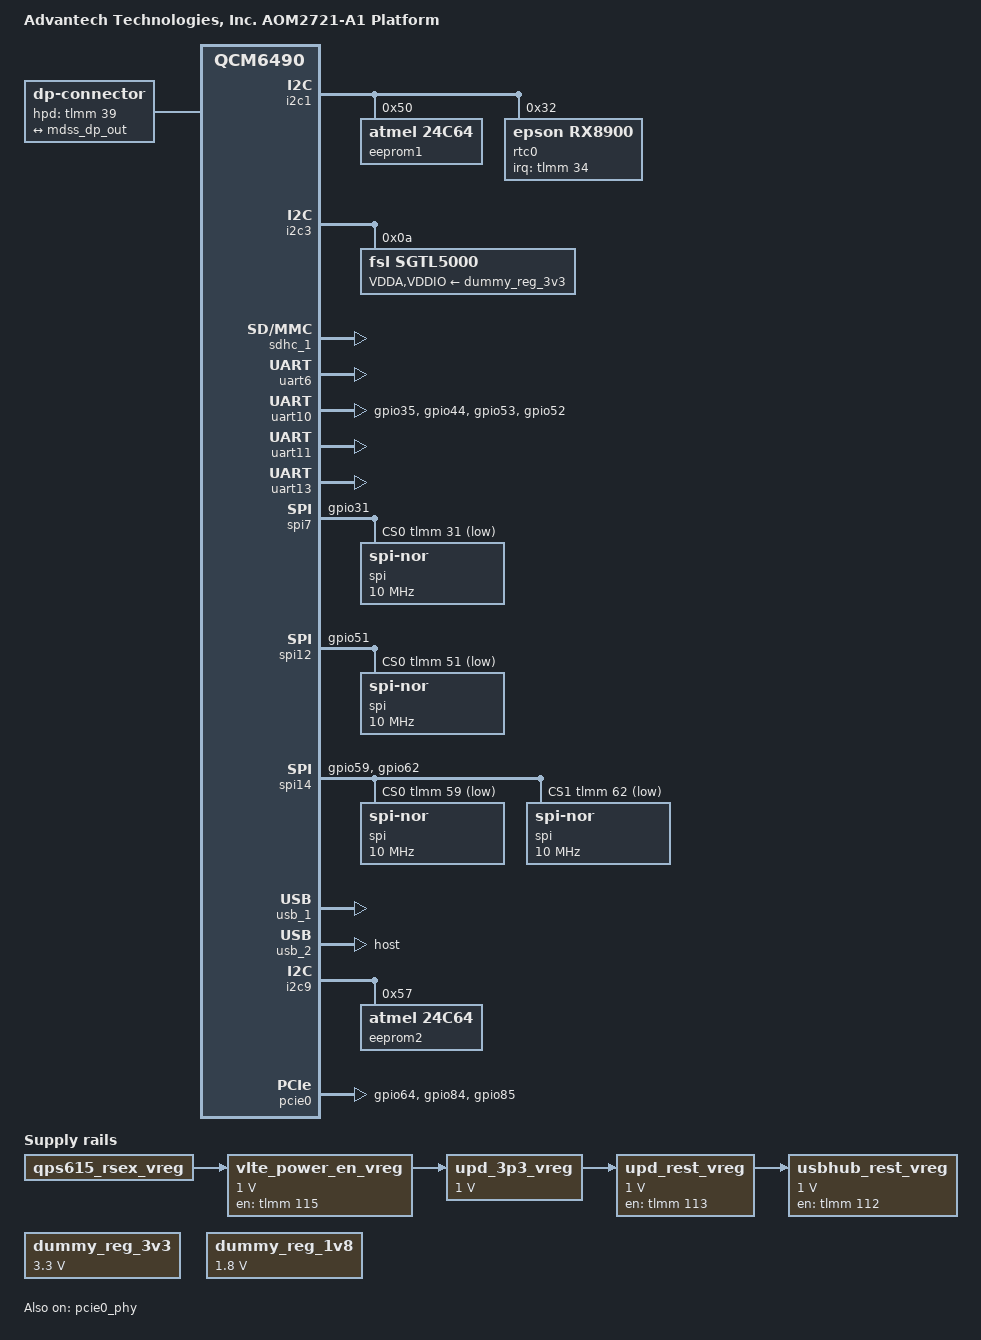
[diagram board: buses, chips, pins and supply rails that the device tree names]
// SPDX-License-Identifier: BSD-3-Clause
/*
 * Copyright (c) 2025 Advantech Inc. All rights reserved.
 */

/dts-v1/;

#include "qcs6490-rb3gen2.dts"
#include "qcs6490-addons-rb3gen2.dtsi"

/ {
	model = "Advantech Technologies, Inc. AOM2721-A1 Platform";
	compatible = "qcom,qcs6490-addons-rb3gen2-vision-mezz", "qcom,qcm6490";

	qcom,msm-id = <497 0x10000>, <498 0x10000>, <475 0x10000>, <515 0x10000>;
	qcom,board-id = <32 0x2>, <32 0x602>;
	qcom,oem-id = <0x01>;

	board {
		board-type = "AOM-2721 A1\n";
	};
};

&q6apmbedai {
	qcom,prmcc_clk = <&q6prmcc>;
};

//Remove the Type-C Begin
&i2c1 {
	typec-mux@42 {
		status = "disabled";
	};

	typec-retimer@1c {
		status = "disabled";
	};
};
//Remove the Type-C End

//Remove the PM7250B Begin
&spmi_bus {
	/delete-node/ pmic@PM7250B_SID;
	/delete-node/ pmic@PM7250B_SID1;
};

&thermal_zones {
	/delete-node/ pm7250b-ibat-lvl0;
	/delete-node/ pm7250b-ibat-lvl1;
	/delete-node/ pm7250b-bcl-lvl0;
	/delete-node/ pm7250b-bcl-lvl1;
	/delete-node/ pm7250b-bcl-lvl2;
	/delete-node/ pm7250b-thermal;
};

&upd_3p3_vreg {
    /delete-property/ gpio;
};

&aqr_vreg {
    /delete-property/ gpio;
};

&lt9611_codec {
    /delete-property/ reset-gpios;
    pinctrl-0 = <&lt9611_irq_pin>;
};
//Remove the PM7250B End

//Audio Begin
/ {
	dummy_reg_3v3: regulator-dummy-3v3 {
		compatible = "regulator-fixed";
		regulator-name = "dummy-supply-3v3";
		regulator-min-microvolt = <3300000>;
		regulator-max-microvolt = <3300000>;
	};

	dummy_reg_1v8: regulator-dummy-1v8 {
		compatible = "regulator-fixed";
		regulator-name = "dummy-supply-1v8";
		regulator-min-microvolt = <1800000>;
		regulator-max-microvolt = <1800000>;
	};
};

&sound {
	/delete-property/ audio-routing;
	/delete-node/ wsa-dai-link;
	/delete-node/ va-dai-link;
	/delete-node/ vi-feedback-dai-link;
};

&lpass_rx_macro {
	/delete-property/ pinctrl-names;
	/delete-property/ pinctrl-0;
};

&lpass_tx_macro {
	/delete-property/ pinctrl-names;
	/delete-property/ pinctrl-0;
};

&swr0 {
	status = "disabled";
};

&swr1 {
	status = "disabled";
};

&swr2 {
	status = "disabled";
};

&lpass_tlmm {
	mi2s3_sclk: mi2s3-sclk-state {
		pins = "gpio0";
		function = "qua_mi2s_sclk";
		drive-strength = <8>;
		bias-disable;
		output-high;
	};

	mi2s3_sclk_sleep: mi2s3-sclk-sleep {
		pins = "gpio0";
		function = "qua_mi2s_sclk";
		drive-strength = <2>;
		bias-pull-down;
		input-enable;
	};

	mi2s3_ws: mi2s3-ws-state {
		pins = "gpio1";
		function = "qua_mi2s_ws";
		drive-strength = <8>;
		bias-disable;
		output-high;
	};

	mi2s3_ws_sleep: mi2s3-ws-sleep {
		pins = "gpio1";
		function = "qua_mi2s_ws";
		drive-strength = <2>;
		bias-pull-down;
		input-enable;
	};

	mi2s3_data0: mi2s3-data0-state {
		pins = "gpio2";
		function = "qua_mi2s_data";
		drive-strength = <8>;
		bias-disable;
	};

	mi2s3_data0_sleep: mi2s3-data0-sleep {
		pins = "gpio2";
		function = "qua_mi2s_data";
		drive-strength = <2>;
		bias-pull-down;
		input-enable;
	};

	mi2s3_data1: mi2s3-data1-state {
		pins = "gpio3";
		function = "qua_mi2s_data";
		drive-strength = <8>;
		bias-disable;
	};

	mi2s3_data1_sleep: mi2s3-data1-sleep {
		pins = "gpio3";
		function = "qua_mi2s_data";
		drive-strength = <2>;
		bias-pull-down;
		input-enable;
	};
};

&tlmm {
	mi2s1_data0_sleep: mi2s1-data0-sleep {
		pins = "gpio107";
		function = "gpio";
		drive-strength = <2>;
		bias-pull-down;
		input-enable;
	};

	mi2s1_sclk_sleep: mi2s1-sclk-sleep {
		pins = "gpio106";
		function = "gpio";
		drive-strength = <2>;
		bias-pull-down;
		input-enable;
	};

	mi2s1_ws_sleep: mi2s1-ws-sleep {
		pins = "gpio108";
		function = "gpio";
		drive-strength = <2>;
		bias-pull-down;
		input-enable;
	};
};

&mi2s1_mclk {
	drive-strength = <8>;
	bias-disable;
	output-high;
};

&mi2s1_data0 {
	drive-strength = <8>;
	bias-disable;
};

&mi2s1_sclk {
	drive-strength = <8>;
	bias-disable;
	output-high;
};

&mi2s1_ws {
	drive-strength = <8>;
	bias-disable;
	output-high;
};

&sound {
	compatible = "qcom,qcm6490-sndcard";
	model = "QCS6490-AOM2721-HDMI-SGTL5000";

	pinctrl-names = "default", "stub_aif1_active", "stub_aif1_sleep";
	pinctrl-0 = <&mi2s3_data0_sleep>, <&mi2s3_data1_sleep>, <&mi2s3_sclk_sleep>, <&mi2s3_ws_sleep>,
		    <&mi2s1_data0_sleep> , <&mi2s1_sclk_sleep>, <&mi2s1_ws_sleep>;
	pinctrl-1 = <&mi2s3_data0>, <&mi2s3_data1>, <&mi2s3_sclk>, <&mi2s3_ws>,
		    <&mi2s1_data0> , <&mi2s1_sclk>, <&mi2s1_ws>;
	pinctrl-2 = <&mi2s3_data0_sleep>, <&mi2s3_data1_sleep>, <&mi2s3_sclk_sleep>, <&mi2s3_ws_sleep>,
		    <&mi2s1_data0_sleep> , <&mi2s1_sclk_sleep>, <&mi2s1_ws_sleep>;

	mi2s1_playback_dai_link: mi2s1-playback-dai-link {
		link-name = "MI2S-LPAIF-RX-SECONDARY";

		cpu {
			sound-dai = <&q6apmbedai SECONDARY_MI2S_RX>;
		};

		codec {
			sound-dai = <&msm_stub_codec 2>;
		};

		platform {
			sound-dai = <&q6apm>;
		};
	};

	mi2s3_capture_dai_link: mi2s3-capture-dai-link {
		link-name = "MI2S-LPAIF_RXTX-TX-PRIMARY";
		mclk-fs = <256>;
		mclk-id = <0>;
		dai-format = "i2s";
		bitclock-master = <&i2s_cpu_tx>;
		frame-master = <&i2s_cpu_tx>;

		i2s_cpu_tx: cpu {
			sound-dai = <&q6apmbedai QUATERNARY_MI2S_TX>;
		};

		codec {
			sound-dai = <&sgtl5000>;
		};

		platform {
			sound-dai = <&q6apm>;
		};
	};

	mi2s3_playback_dai_link: mi2s3-playback-dai-link {
		link-name = "MI2S-LPAIF_RXTX-RX-PRIMARY";
		mclk-fs = <256>;
		mclk-id = <0>;
		dai-format = "i2s";
		bitclock-master = <&i2s_cpu_rx>;
		frame-master = <&i2s_cpu_rx>;

		i2s_cpu_rx: cpu {
			sound-dai = <&q6apmbedai QUATERNARY_MI2S_RX>;
		};

		codec {
			sound-dai = <&sgtl5000>;
		};

		platform {
			sound-dai = <&q6apm>;
		};
	};
};

&i2c3 {
	status = "ok";
	qcom,clk-freq-out = <100000>;
	sgtl5000: codec@a {
		compatible = "fsl,sgtl5000";
		reg = <0x0a>;
		clocks = <&q6prmcc LPASS_CLK_ID_MCLK_2 LPASS_CLK_ATTRIBUTE_COUPLE_NO>;

		assigned-clocks = <&q6prmcc LPASS_CLK_ID_MCLK_2 LPASS_CLK_ATTRIBUTE_COUPLE_NO>;
		assigned-clock-rates = <12288000>;

		#sound-dai-cells = <0>;
		pinctrl-names = "default";
		pinctrl-0 = <&mi2s1_mclk>;
		VDDA-supply = <&dummy_reg_3v3>;
		VDDIO-supply = <&dummy_reg_3v3>;
	};
};
//Audio End

//DP Begin
/ {
	dp1-connector {
		compatible = "dp-connector";
		label = "DP";
		type = "full-size";
		hpd-gpios = <&tlmm 39 GPIO_ACTIVE_HIGH>;

		port {
			dp1_connector_in: endpoint {
				remote-endpoint = <&mdss_dp_out>;
			};
		};
	};
};

&mdss_dp_out {
	data-lanes = <0 1>;
	remote-endpoint = <&dp1_connector_in>;
};

&usb_1_qmpphy_out {
	/delete-property/ remote-endpoint;
};

&usb_1_qmpphy_dp_in {
	/delete-property/ remote-endpoint;
};

&usb_1_qmpphy {
	default-typec-orientation-reverse;
};
//DP End

//Ethernet Begin
&qep_vreg {
	status = "disabled";
};

&aqr_vreg {
	status = "disabled";
};

&pcie1_bus2_dev3_fn0 {
	qps615_eth0,qps615_eth0@pcie1_rp {
		nvmem-cells = <&mac_addr1>;
		nvmem-cell-names = "mac-address";
		interrupts-extended = <&tlmm 130 IRQ_TYPE_EDGE_FALLING>;
		phy-supply = <>;
		qcom,phy-port-interface = <4>;
		qcom,mdc-clk = <0x8>;
		qcom,c45-state = <0>;
		qcom,link-down-macrst = <0>;
	};
};

&pcie1_bus2_dev3_fn0 {
	qps615_eth1,qps615_eth1@pcie1_rp {
		nvmem-cells = <&mac_addr2>;
		nvmem-cell-names = "mac-address";
		interrupts-extended = <&tlmm 131 IRQ_TYPE_EDGE_FALLING>;
		phy-supply = <>;
		qcom,phy-port-interface = <3>;
		qcom,mdc-clk = <0x8>;
		qcom,c45-state = <0>;
		qcom,link-down-macrst = <0>;
	};
};

&aqr_intn_wol_sig {
	mux {
		pins = "gpio130";
	};

	config {
		pins = "gpio130";
	};
};

&napa_intn_wol_sig {
	mux {
		pins = "gpio131";
	};

	config {
		pins = "gpio131";
	};
};
//Ethernet End

//EMMC Begin
&sdhc_1 {
	status = "okay";
};
//EMMC End

//UART Begin
/ {
	aliases {
		/delete-property/ bluetooth0;
		serial1 = &uart6;
		serial2 = &uart10;
		serial3 = &uart11;
		serial4 = &uart13;
	};
};

&qup_uart6_cts {
	bias-bus-hold;
};

&qup_uart6_rts {
	drive-strength = <2>;
	bias-disable;
};

&qup_uart6_rx {
	bias-pull-up;
};

&qup_uart6_tx {
	drive-strength = <2>;
	bias-disable;
};

&tlmm {
	qup_uart6_sleep_cts: qup-uart6-sleep-cts-state {
		pins = "gpio24";
		function = "gpio";
		bias-bus-hold;
	};

	qup_uart6_sleep_rts: qup-uart6-sleep-rts-state {
		pins = "gpio25";
		function = "gpio";
		bias-pull-down;
	};

	qup_uart6_sleep_rx: qup-uart6-sleep-rx-state {
		pins = "gpio26";
		function = "gpio";
		bias-pull-up;
	};

	qup_uart6_sleep_tx: qup-uart6-sleep-tx-state {
		pins = "gpio27";
		function = "gpio";
		bias-pull-up;
	};

	uartb_slew_default: uartb-slew-default-state {
		pins = "gpio35";
		function = "gpio";
		drive-strength = <2>;
		output-high;
		bias-pull-up;
	};

	uartb_term_default: uartb-term-default-state {
		pins = "gpio44";
		function = "gpio";
		drive-strength = <2>;
		output-high;
		bias-pull-up;
	};

	uartb_mode0_default: uartb-mode0-default-state {
		pins = "gpio53";
		function = "gpio";
		drive-strength = <2>;
		output-high;
		bias-pull-up;
	};

	uartb_mode1_default: uartb-mode1-default-state {
		pins = "gpio52";
		function = "gpio";
		drive-strength = <2>;
		output-low;
		bias-pull-down;
	};
};

&uart6 {
	status = "okay";
	/delete-property/interrupts;
	interrupts-extended = <&intc GIC_SPI 607 IRQ_TYPE_LEVEL_HIGH>,
				<&tlmm 27 IRQ_TYPE_EDGE_FALLING>;
	pinctrl-names = "default", "sleep";
	pinctrl-1 = <&qup_uart6_sleep_cts>, <&qup_uart6_sleep_rts>,
			<&qup_uart6_sleep_tx>, <&qup_uart6_sleep_rx>;
};

&uart10 {
	status = "okay";
	/delete-property/pinctrl-0;
	pinctrl-0 = <&qup_uart10_cts>, <&qup_uart10_rts>, <&qup_uart10_tx>, <&qup_uart10_rx>,
			<&uartb_slew_default>, <&uartb_term_default>,
			<&uartb_mode0_default>, <&uartb_mode1_default>;
	linux,rs485-enabled-at-boot-time;
	rs485-rts-active-low;
};

&uart11 {
	status = "okay";
	/delete-property/pinctrl-0;
	pinctrl-0 = <&qup_uart11_tx>, <&qup_uart11_rx>;
};

&uart13 {
	status = "okay";
	/delete-property/pinctrl-0;
	pinctrl-0 = <&qup_uart13_tx>, <&qup_uart13_rx>;
};
//UART End

//SPI Begin
&tlmm {
	gpio-reserved-ranges = <32 2>;

	qup_spi7_cs_gpio: qup-spi7-cs-gpio-state {
		pins = "gpio31";
		function = "gpio";
		drive-strength = <2>;
		output-high;
		bias-pull-up;
	};

	qup_spi12_cs_gpio: qup-spi12-cs-gpio-state {
		pins = "gpio51";
		function = "gpio";
		drive-strength = <2>;
		output-high;
		bias-pull-up;
	};

	qup_spi14_cs_gpio: qup-spi14-cs-gpio-state {
		pins = "gpio59";
		function = "gpio";
		drive-strength = <2>;
		output-high;
		bias-pull-up;
	};

	qup_spi14_cs1_gpio: qup-spi14-cs1-gpio-state {
		pins = "gpio62";
		function = "gpio";
		drive-strength = <2>;
		output-high;
		bias-pull-up;
	};
};

&uart7 {
	status = "disabled";
};

&spi7 {
	status = "okay";
	pinctrl-0 = <&qup_spi7_data_clk>, <&qup_spi7_cs_gpio>;
	cs-gpios = <&tlmm 31 GPIO_ACTIVE_LOW>;

	spi@0 {
		compatible = "jedec,spi-nor";
		reg = <0>;
		spi-max-frequency = <10000000>;
		status = "okay";
	};
};

&spi12 {
	status = "okay";
	pinctrl-0 = <&qup_spi12_data_clk>, <&qup_spi12_cs_gpio>;
	cs-gpios = <&tlmm 51 GPIO_ACTIVE_LOW>;

	spi@0 {
		compatible = "jedec,spi-nor";
		reg = <0>;
		spi-max-frequency = <10000000>;
		status = "okay";
	};
};

&spi14 {
	status = "okay";
	pinctrl-0 = <&qup_spi14_data_clk>, <&qup_spi14_cs_gpio>, <&qup_spi14_cs1_gpio>;
	cs-gpios = <&tlmm 59 GPIO_ACTIVE_LOW>, <&tlmm 62 GPIO_ACTIVE_LOW>;

	spi@0 {
		compatible = "jedec,spi-nor";
		reg = <0>;
		spi-max-frequency = <10000000>;
		status = "okay";
	};

	spi@1 {
		compatible = "jedec,spi-nor";
		reg = <1>;
		spi-max-frequency = <10000000>;
		status = "okay";
	};
};

//SPI End

//USB Begin
&usb_1 {
	role-switch-default-mode = "host";
	status = "okay";
};

&usb_2 {
	dr_mode = "host";
	status = "okay";
};
//USB End

//M2B Begin
/ {
	vlte_power_en_vreg: vlte_power_en_vreg {
		compatible = "regulator-fixed";
		regulator-name = "vlte_power_en_vreg";
		gpio = <&tlmm 115 GPIO_ACTIVE_HIGH>;
		vin-supply = <&qps615_rsex_vreg>;
		regulator-min-microvolt = <1000000>;
		regulator-max-microvolt = <1000000>;
		enable-active-high;
		regulator-enable-ramp-delay = <10000>;
		regulator-always-on;
	};

	upd_3p3_vreg: upd_3p3_vreg {
		compatible = "regulator-fixed";
		regulator-name = "upd_3p3_vreg";
		gpio = <&tlmm 114 GPIO_ACTIVE_HIGH>;
		vin-supply = <&vlte_power_en_vreg>;
		regulator-min-microvolt = <1000000>;
		regulator-max-microvolt = <1000000>;
		enable-active-high;
		regulator-enable-ramp-delay = <10000>;
		regulator-always-on;
	};

	upd_rest_vreg: upd_rest_vreg {
		compatible = "regulator-fixed";
		regulator-name = "upd_rest_vreg";
		gpio = <&tlmm 113 GPIO_ACTIVE_HIGH>;
		vin-supply = <&upd_3p3_vreg>;
		regulator-min-microvolt = <1000000>;
		regulator-max-microvolt = <1000000>;
		enable-active-high;
		regulator-always-on;
	};

	usbhub_rest_vreg: usbhub_rest_vreg {
		compatible = "regulator-fixed";
		regulator-name = "usbhub_rest_vreg";
		gpio = <&tlmm 112 GPIO_ACTIVE_HIGH>;
		vin-supply = <&upd_rest_vreg>;
		regulator-min-microvolt = <1000000>;
		regulator-max-microvolt = <1000000>;
		enable-active-high;
		regulator-always-on;
	};
};
//M2B End

//EEPROM Begin
&i2c1 {
	eeprom1: 24c64@50 {
		compatible = "atmel,24c64";
		reg = <0x50>;

		nvmem-layout {
			compatible = "fixed-layout";
			#address-cells = <1>;
			#size-cells = <1>;

			mac_addr1: mac-addr@0 {
				reg = <0x200 0x6>;
			};

			mac_addr2: mac-addr@6 {
				reg = <0x206 0x6>;
			};
		};
	};
};

&i2c9 {
	status = "okay";

	eeprom2: 24c64@57 {
		compatible = "atmel,24c64";
		reg = <0x57>;
	};
};
//EEPROM End

//RTC Begin
/ {
        aliases {
		rtc0 = &rtc0;
		rtc1 = &pmk8350_rtc;
        };
};

&tlmm {
    rx8900_irq_pin: rx8900_irq_pin {
        pins = "gpio34";
        function = "gpio";
        drive-strength = <2>;
        bias-pull-up;
	input-enable;
    };
};

&i2c1 {
    rtc0: rx8900@32 {
        compatible = "epson,rx8900";
        reg = <0x32>;
        epson,vdet-disable;
        trickle-diode-disable;
        pinctrl-names = "default";
        pinctrl-0 = <&rx8900_irq_pin>;
        interrupts-extended = <&tlmm 34 IRQ_TYPE_EDGE_FALLING>;
        interrupt-names = "rtc0_irq";
        status = "okay";
    };
};
//RTC End

//PCIE0 and M2E Begin
&tlmm {
	m2e_wlan_power_en: m2e-wlan-power-en-state {
		pins = "gpio64";
		function = "gpio";
		drive-strength = <16>;
		output-high;
		bias-pull-up;
	};

	m2e_wlan_en: m2e-wlan-en-state {
		pins = "gpio84";
		function = "gpio";
		drive-strength = <16>;
		output-high;
		bias-pull-up;
	};

	m2e_bt_en: m2e-bt-en-state {
		pins = "gpio85";
		function = "gpio";
		drive-strength = <16>;
		output-high;
		bias-pull-up;
	};
};

&pcie0 {
	max-link-speed = <2>;
	perst-gpios = <&tlmm 87 GPIO_ACTIVE_LOW>;
	pinctrl-0 = <&pcie0_reset_n>, <&pcie0_wake_n>, <&pcie0_clkreq_n>,
		<&m2e_wlan_power_en>, <&m2e_wlan_en>, <&m2e_bt_en>;
	pinctrl-names = "default";
	status = "okay";

	pcie0_port0: pcie@0 {
		reg = <0x0 0x0 0x0 0x0 0x0>;
		#address-cells = <3>;
		#size-cells = <2>;
		ranges;

		bus-range = <0x01 0xff>;
		device_type = "pci";

		wake-gpios = <&tlmm 89 GPIO_ACTIVE_LOW>;
	};
};

&pcie0_phy {
	status = "okay";
	vdda-phy-supply = <&vreg_l10c_0p88>;
	vdda-pll-supply = <&vreg_l6b_1p2>;
};

&remoteproc_mpss {
	status = "disabled";
};

&remoteproc_wpss {
	status = "disabled";
};

&wifi {
	status = "disabled";
};
//PCIE0 and M2E End
